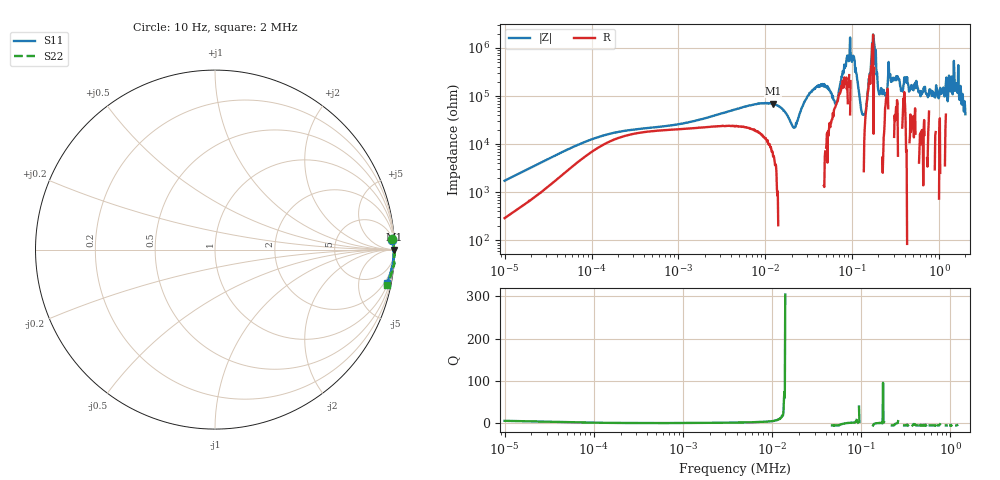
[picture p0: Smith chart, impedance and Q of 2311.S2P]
!Agilent Technologies,E5061B,MY49204007,A.02.12
!Date: Wed Jul 23 11:59:09 2025
!Data & Calibration Information:
!Freq	S11:SOLT2(ON)	S21:SOLT2(ON)	S12:SOLT2(ON)	S22:SOLT2(ON)
# Hz S dB R 50
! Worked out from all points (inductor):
!   1040 points, 10 Hz to 2 MHz, reference 50 ohm
!   read as one part in series: L = 26.5 H near 10.69 Hz
!   highest Q = 12.5 at 12.27 kHz (marker M1), where L = 897 mH
!   self-resonance near 21.78 kHz
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10  -0.10 3.2  -24.90 -77.1  -24.91 -77.0  -0.08 3.4
77.209  -0.04 0.5  -40.45 -61.5  -40.46 -61.4  -0.02 0.7
588.818  -0.03 0.1  -47.22 -33.0  -47.22 -32.9  -0.02 0.3
4498.482  -0.01 0.0  -54.46 -63.7  -54.46 -63.2  0.01 0.2
12273.72  -0.01 -0.1  -56.82 -85.4  -56.79 -84.4  0.01 0.1
21558.9  -0.02 -0.1  -46.91 -173.1  -46.90 -173.1  -0.08 0.0
34305.13  -0.01 -0.2  -61.82 101.4  -62.28 101.0  0.01 0.1
48227.32  -0.01 -0.3  -64.31 88.0  -64.67 88.3  0.01 -0.0
64609.4  -0.05 -0.4  -56.61 19.8  -56.55 19.8  0.01 -0.2
85417.3  -0.01 -0.4  -74.89 -64.4  -75.20 -64.5  0.01 -0.3
98845.22  -0.00 -0.5  -74.26 -105.6  -76.10 -114.0  0.01 -0.4
135646.6  -0.02 -0.7  -52.32 85.5  -52.28 85.1  -0.01 -0.7
144918.2  -0.02 -0.7  -55.42 4.1  -55.32 3.1  -0.02 -0.6
158692.4  -0.01 -0.8  -69.41 -23.0  -70.80 -48.5  0.01 -0.7
175668.9  -0.01 -0.9  -83.95 -90.3  -81.34 -17.7  0.01 -0.8
209621.8  -0.02 -1.0  -61.32 108.0  -61.90 107.8  0.01 -1.0
238488.8  -0.02 -1.3  -61.14 58.9  -60.45 65.6  -0.02 -1.3
261946.5  -0.03 -1.4  -74.23 -146.3  -74.68 -114.9  -0.01 -1.1
375694.8  -0.02 -2.0  -62.36 78.3  -62.07 78.8  -0.00 -1.9
857145.1  -0.05 -4.6  -61.69 77.5  -60.77 82.7  0.01 -5.2
1554576  -0.14 -8.3  -64.81 137.1  -64.97 143.1  -0.10 -9.1
2000000  -0.20 -11.0  -52.73 -124.1  -52.97 -125.5  -0.19 -11.8
